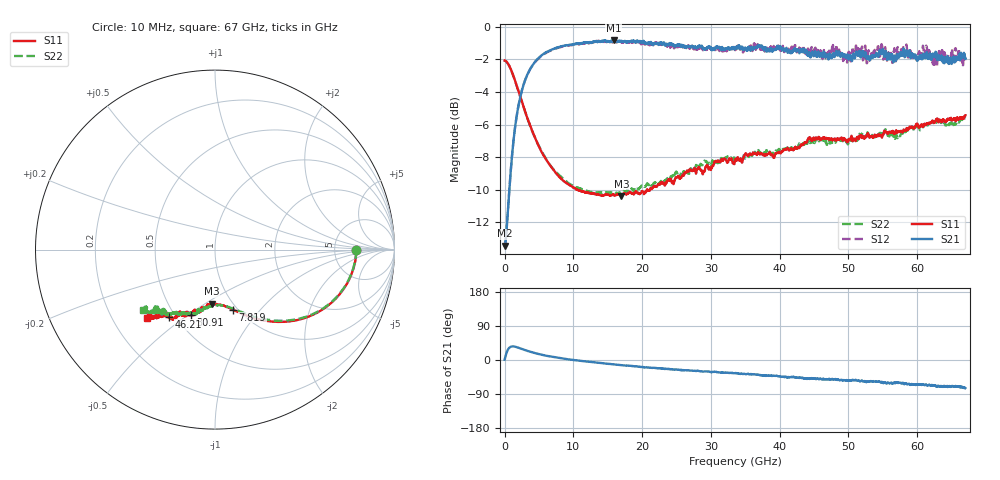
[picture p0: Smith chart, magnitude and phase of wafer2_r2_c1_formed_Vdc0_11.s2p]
!Keysight Technologies,N5227A,US51270248,A.10.65.08
!Date: Tuesday, June 11, 2024 06:50:40
!Correction: S11(Full 2 Port(1,4))
!S41(Full 2 Port(1,4))
!S14(Full 2 Port(1,4))
!S44(Full 2 Port(1,4))
!S2P File: Measurements: S11, S41, S14, S44:
# Hz S  dB  R 50
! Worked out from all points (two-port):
!   3201 points, 10 MHz to 67 GHz, reference 50 ohm
!   highest |S21| = -0.84 dB at 15.88 GHz (marker M1); lowest = -13.4 dB at 10 MHz (marker M2)
!   |S21| within 3 dB of the highest: 2.564 GHz to end of sweep
!   lowest |S11| = -10.4 dB at 16.99 GHz (marker M3), VSWR 1.87, Z = 40.4 - j26.8 ohm
!   |S11| at or under -10 dB: 10.58 GHz to 10.63 GHz (54.22 MHz wide, 0.511 % of centre); 10.65 GHz to 20.68 GHz (10.03 GHz wide, 64 % of centre); 20.76 GHz to 21.12 GHz (362.4 MHz wide, 1.73 % of centre)
!   |S22| runs from -10.2 to -2.1 dB; largest |S21 - S12| = 0.089
!   S11 on the Smith chart (normalised r, x): 10 MHz: 8.42, -0.15; 7.819 GHz: 0.95, -0.72; 30.91 GHz: 0.60, -0.51; 46.21 GHz: 0.46, -0.44; 67 GHz: 0.35, -0.37
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1e7  -2.07 -0.2  -13.44 0.8  -13.46 0.8  -2.07 -0.2
1.286997e9  -3.01 -25.6  -7.06 35.8  -7.04 35.7  -3.02 -25.2
2.584928e9  -4.69 -43.2  -3.81 28.7  -3.81 28.6  -4.69 -42.3
4.803972e9  -7.17 -60.6  -1.97 16.4  -2.00 16.2  -7.14 -59.0
7.818522e9  -9.15 -73.5  -1.26 5.7  -1.29 5.5  -9.05 -71.6
1.118896e10  -10.09 -82.4  -1.00 -2.3  -1.05 -2.5  -9.95 -80.8
1.587826e10  -10.34 -92.0  -0.84 -11.4  -0.92 -11.2  -10.22 -91.0
1.698778e10  -10.39 -93.2  -0.88 -13.6  -0.96 -13.3  -10.21 -92.1
2.234698e10  -9.69 -99.2  -1.06 -21.5  -1.05 -21.3  -9.71 -100.0
3.090914e10  -8.23 -110.0  -1.26 -32.1  -1.29 -31.4  -8.34 -113.3
3.3505e10  -8.22 -112.7  -1.33 -34.5  -1.42 -34.6  -7.96 -116.5
4.468396e10  -6.92 -122.6  -1.60 -48.7  -1.30 -48.0  -7.01 -125.7
4.621217e10  -6.84 -124.4  -1.86 -50.9  -1.89 -50.0  -6.93 -128.7
4.935232e10  -6.85 -127.4  -1.74 -53.1  -1.94 -52.0  -6.93 -130.6
5.079679e10  -6.87 -127.6  -1.80 -53.6  -1.88 -53.2  -6.92 -130.2
5.460685e10  -6.66 -129.3  -1.44 -57.8  -1.81 -56.6  -6.54 -133.0
5.584198e10  -6.47 -129.3  -1.70 -59.9  -1.80 -60.2  -6.69 -135.1
5.728645e10  -6.42 -129.9  -1.85 -60.8  -1.68 -61.0  -6.72 -133.6
6.153613e10  -5.93 -131.6  -1.96 -67.1  -1.70 -68.0  -6.04 -136.1
6.264565e10  -5.79 -131.7  -1.62 -67.0  -1.92 -68.2  -5.79 -137.7
6.375517e10  -5.71 -133.8  -1.86 -70.3  -1.65 -70.2  -5.84 -139.9
6.7e10  -5.42 -134.9  -1.95 -74.0  -2.21 -74.8  -5.63 -140.2
